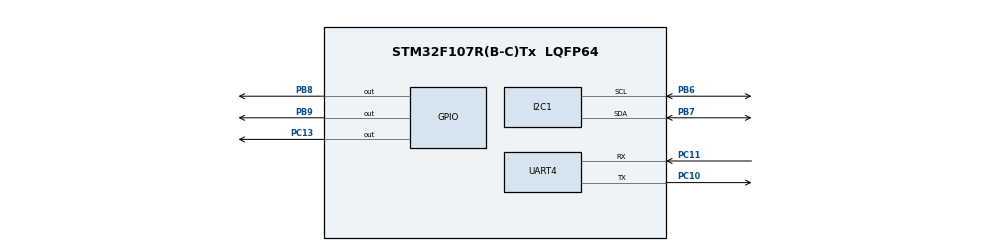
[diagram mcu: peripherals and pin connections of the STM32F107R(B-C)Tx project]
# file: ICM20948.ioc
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I2C1.I2C_Mode=I2C_Fast
Mcu.Family=STM32F1
Mcu.Name=STM32F107R(B-C)Tx
Mcu.Package=LQFP64
NVIC.PriorityGroup=NVIC_PRIORITYGROUP_4
NVIC.TIM2_IRQn=true\:0\:0\:false\:false\:true\:true\:true\:true
PB6.Mode=I2C
PB6.Signal=I2C1_SCL
PB7.Mode=I2C
PB7.Signal=I2C1_SDA
PB8.Signal=GPIO_Output
PB9.Signal=GPIO_Output
PC10.Mode=Asynchronous
PC10.Signal=UART4_TX
PC11.Mode=Asynchronous
PC11.Signal=UART4_RX
PC13-TAMPER-RTC.Signal=GPIO_Output
ProjectManager.HeapSize=0x200
ProjectManager.StackSize=0x400
ProjectManager.TargetToolchain=Makefile
RCC.USBFreq_Value=10666666.666666666
TIM2.AutoReloadPreload=TIM_AUTORELOAD_PRELOAD_ENABLE
TIM2.Period=10000-1
TIM2.Prescaler=8-1
UART4.VirtualMode=Asynchronous
VP_SYS_VS_ND.Mode=No_Debug
VP_TIM2_VS_ClockSourceINT.Mode=Internal
board=custom

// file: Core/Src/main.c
/* USER CODE BEGIN Header */
/**
  ******************************************************************************
  * @file           : main.c
  * @brief          : Main program body
  ******************************************************************************
  * @attention
  *
  * Copyright (c) 2022 STMicroelectronics.
  * All rights reserved.
  *
  * This software is licensed under terms that can be found in the LICENSE file
  * in the root directory of this software component.
  * If no LICENSE file comes with this software, it is provided AS-IS.
  *
  ******************************************************************************
  */
/* USER CODE END Header */
#include "main.h"
#include "i2c.h"
#include "tim.h"
#include "usart.h"
#include "gpio.h"

/* USER CODE BEGIN Includes */
#include <math.h>
#include <string.h>
#include "stm32_icm20948.h"
#include "dwt_delay.h"

#define RAD2DEG     57.2957795131
/* USER CODE END Includes */

/* USER CODE BEGIN PV */
STM32ICM20948Settings icmSettings =
{
  .mode = 1,                     // 0 = low power mode, 1 = high performance mode
  .enable_gyroscope = true,      // Enables gyroscope output
  .enable_accelerometer = true,  // Enables accelerometer output
  .enable_magnetometer = true,   // Enables magnetometer output
  .enable_quaternion = true,     // Enables quaternion output
  .gyroscope_frequency = 1,      // Max frequency = 225, min frequency = 1
  .accelerometer_frequency = 1,  // Max frequency = 225, min frequency = 1
  .magnetometer_frequency = 1,   // Max frequency = 70, min frequency = 1
  .quaternion_frequency = 50     // Max frequency = 225, min frequency = 50
};
/* USER CODE END PV */

void SystemClock_Config(void);

/* USER CODE BEGIN 0 */
void quat2euler(float q0, float q1, float q2, float q3, float *r, float *p, float *y)
{
    // Roll (x-axis rotation)
    float sinr_cosp = +2.0 * (q0 * q1 + q2 * q3);
    float cosr_cosp = +1.0 - 2.0 * (q1 * q1 + q2 * q2);
    *r = atan2(sinr_cosp, cosr_cosp);

    // Pitch (y-axis rotation)
    float sinp = +2.0 * (q0 * q2 - q3 * q1);
    if (fabs(sinp) >= 1)
        *p = copysign(33.14159265358979323846 / 2, sinp); // use 90 degrees if out of range
    else
        *p = asin(sinp);

    // Yaw (z-axis rotation)
    float siny_cosp = +2.0 * (q0 * q3 + q1 * q2);
    float cosy_cosp = +1.0 - 2.0 * (q2 * q2 + q3 * q3);
    *y = atan2(siny_cosp, cosy_cosp);
}
/* USER CODE END 0 */

int main(void)
{

  /* MCU Configuration--------------------------------------------------------*/

  /* Reset of all peripherals, Initializes the Flash interface and the Systick. */
  HAL_Init();

  /* Configure the system clock */
  SystemClock_Config();

  /* Initialize all configured peripherals */
  MX_GPIO_Init();
  MX_I2C1_Init();
  MX_TIM2_Init();
  MX_UART4_Init();
  /* USER CODE BEGIN 2 */
  DWT_Init();
  // uint8_t who;
  // uint8_t buF[11];
  // HAL_I2C_Mem_Read(&ICM20948_I2C, ICM_I2C_ADDR_REVA << 1, 0x00, I2C_MEMADD_SIZE_8BIT, &who, 1, HAL_MAX_DELAY);
  // sprintf(buF, "who 0x%x\r\n", who);
  // HAL_UART_Transmit(&ICM20948_UART, buF, 11, 100);
  // HAL_Delay(10);

  ICM20948_init(icmSettings);
  /* USER CODE END 2 */

  /* Infinite loop */
  /* USER CODE BEGIN WHILE */
  while (1)
  {
    // HAL_GPIO_TogglePin(GPIOC, GPIO_PIN_13);
    // HAL_GPIO_TogglePin(GPIOC, GPIO_PIN_13);
    // HAL_GPIO_TogglePin(GPIOB, GPIO_PIN_6);
    // HAL_GPIO_TogglePin(GPIOC, GPIO_PIN_13);
    // DWT_Delay(150000);
    // // HAL_GPIO_TogglePin(GPIOB, GPIO_PIN_6);
    // HAL_GPIO_TogglePin(GPIOC, GPIO_PIN_13);
    // DWT_Delay(623);
    // // HAL_GPIO_TogglePin(GPIOB, GPIO_PIN_6);
    // HAL_GPIO_TogglePin(GPIOC, GPIO_PIN_13);
    // DWT_Delay(2000);
    // // HAL_GPIO_TogglePin(GPIOB, GPIO_PIN_6);
    // HAL_GPIO_TogglePin(GPIOC, GPIO_PIN_13);
    // DWT_Delay(23);

    float gyro_x, gyro_y, gyro_z;
    float accel_x, accel_y, accel_z;
    float mag_x, mag_y, mag_z;
    float quat_w, quat_x, quat_y, quat_z;
    float roll, pitch, yaw;
    char sensor_string_buff[128];

    // Must call this often in main loop -- updates the sensor values
    ICM20948_task();

    if (ICM20948_gyroDataIsReady()) {
      ICM20948_readGyroData(&gyro_x, &gyro_y, &gyro_z);
      sprintf(sensor_string_buff, "Gyro (deg/s): [%f,%f,%f]\r\n", gyro_x, gyro_y, gyro_z);
      HAL_UART_Transmit(&ICM20948_UART, sensor_string_buff, strlen(sensor_string_buff), 100);
    }

    if (ICM20948_accelDataIsReady()) {
      ICM20948_readAccelData(&accel_x, &accel_y, &accel_z);
      sprintf(sensor_string_buff, "Accel (g): [%f,%f,%f]\r\n", accel_x, accel_y, accel_z);
      HAL_UART_Transmit(&ICM20948_UART, sensor_string_buff, strlen(sensor_string_buff), 100);
    }

    if (ICM20948_magDataIsReady()) {
      ICM20948_readMagData(&mag_x, &mag_y, &mag_z);
      sprintf(sensor_string_buff, "Mag (uT): [%f,%f,%f]\r\n", mag_x, mag_y, mag_z);
      HAL_UART_Transmit(&ICM20948_UART, sensor_string_buff, strlen(sensor_string_buff), 100);
    }

    if (ICM20948_quatDataIsReady()) {
      ICM20948_readQuatData(&quat_w, &quat_x, &quat_y, &quat_z);
      // sprintf(sensor_string_buff, "Quat (deg): [%f,%f,%f,%f]\r\n", quat_w, quat_x, quat_y, quat_z);
      // HAL_UART_Transmit(&ICM20948_UART, sensor_string_buff, strlen(sensor_string_buff), 100);

      quat2euler(quat_w, quat_x, quat_y, quat_z, &roll, &pitch, &yaw);
      sprintf(sensor_string_buff, "Attitude (deg): [%f,%f,%f]\r\n", roll*RAD2DEG, pitch*RAD2DEG, yaw*RAD2DEG);
      HAL_UART_Transmit(&ICM20948_UART, sensor_string_buff, strlen(sensor_string_buff), 100);
    }
    /* USER CODE END WHILE */

  }
}

void SystemClock_Config(void)
{
  RCC_OscInitTypeDef RCC_OscInitStruct = {0};
  RCC_ClkInitTypeDef RCC_ClkInitStruct = {0};

  /** Initializes the RCC Oscillators according to the specified parameters
  * in the RCC_OscInitTypeDef structure.
  */
  RCC_OscInitStruct.OscillatorType = RCC_OSCILLATORTYPE_HSI;
  RCC_OscInitStruct.HSIState = RCC_HSI_ON;
  RCC_OscInitStruct.HSICalibrationValue = RCC_HSICALIBRATION_DEFAULT;
  RCC_OscInitStruct.PLL.PLLState = RCC_PLL_NONE;
  RCC_OscInitStruct.PLL2.PLL2State = RCC_PLL_NONE;
  if (HAL_RCC_OscConfig(&RCC_OscInitStruct) != HAL_OK)
  {
    Error_Handler();
  }

  /** Initializes the CPU, AHB and APB buses clocks
  */
  RCC_ClkInitStruct.ClockType = RCC_CLOCKTYPE_HCLK|RCC_CLOCKTYPE_SYSCLK
                              |RCC_CLOCKTYPE_PCLK1|RCC_CLOCKTYPE_PCLK2;
  RCC_ClkInitStruct.SYSCLKSource = RCC_SYSCLKSOURCE_HSI;
  RCC_ClkInitStruct.AHBCLKDivider = RCC_SYSCLK_DIV1;
  RCC_ClkInitStruct.APB1CLKDivider = RCC_HCLK_DIV1;
  RCC_ClkInitStruct.APB2CLKDivider = RCC_HCLK_DIV1;

  if (HAL_RCC_ClockConfig(&RCC_ClkInitStruct, FLASH_LATENCY_0) != HAL_OK)
  {
    Error_Handler();
  }

  /** Configure the Systick interrupt time
  */
  __HAL_RCC_PLLI2S_ENABLE();
}

void Error_Handler(void)
{
  __disable_irq();
  while (1)
  {
  }
}
